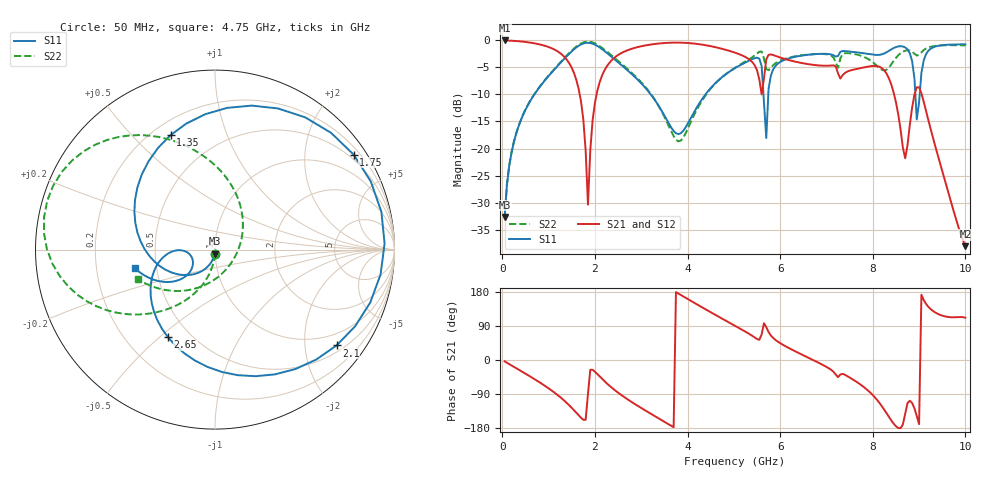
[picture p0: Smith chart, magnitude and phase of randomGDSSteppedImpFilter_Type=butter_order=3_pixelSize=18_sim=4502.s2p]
! freq	dB(S11)	phase(S11)	dB(S12)	phase(S12)
!  dB(S21)	phase(S21)	dB(S22)	phase(S22)
!S-par simulation data
#  GHz  S  DB  R 50
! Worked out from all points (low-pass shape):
!   200 points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, 50 MHz to 10 GHz, reference 50 ohm
!   highest |S21| = -0.01 dB at 50 MHz (marker M1); lowest = -38.1 dB at 10 GHz (marker M2)
!   |S21| within 3 dB of the highest: start of sweep to 1.335 GHz; 2.449 GHz to 5.235 GHz (2.786 GHz wide, 72.5 % of centre) (the widest 2 of 3)
!   lowest |S11| = -32.7 dB at 50 MHz (marker M3), VSWR 1.05, Z = 49.8 - j2.31 ohm
!   |S11| at or under -10 dB: start of sweep to 691.8 MHz; 3.206 GHz to 4.387 GHz (1.181 GHz wide, 31.1 % of centre); 5.64 GHz to 5.744 GHz (104.6 MHz wide, 1.84 % of centre) (the widest 3 of 4)
!   |S22| runs from -32.7 to -0.2 dB; largest |S21 - S12| = 0
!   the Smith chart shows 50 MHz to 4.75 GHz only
!   S11 on the Smith chart (normalised r, x): 50 MHz: 1.00, -0.05; 1.35 GHz: 0.27, +0.65; 1.75 GHz: 0.37, +3.18; 2.1 GHz: 0.66, -2.74; 2.65 GHz: 0.38, -0.53; 4.75 GHz: 0.38, -0.10
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0.05  -32.67 -94.9  -0.01 -3.6  -0.01 -3.6  -32.66 -91.9
0.4  -14.77 -131.1  -0.19 -28.7  -0.19 -28.7  -14.72 -107.3
1.35  -3.30 111.2  -3.14 -108.5  -3.14 -108.5  -3.18 -151.0
1.75  -0.57 34.5  -14.65 -157.7  -14.65 -157.7  -0.38 174.5
1.85  -0.44 12.8  -30.39 -89.7  -30.39 -89.7  -0.23 163.7
2.1  -1.29 -38.3  -7.80 -43.1  -7.80 -43.1  -1.05 138.7
2.65  -5.13 -118.3  -2.01 -99.3  -2.01 -99.3  -4.89 102.1
3.4  -12.44 -177.5  -0.56 -155.8  -0.56 -155.8  -12.47 49.9
3.85  -17.19 -153.4  -0.42 171.9  -0.42 171.9  -18.57 -43.3
4.75  -6.77 -167.0  -1.56 109.0  -1.56 109.0  -6.77 -158.8
5.05  -5.01 171.3  -2.34 88.8  -2.34 88.8  -4.91 -177.4
5.55  -3.38 107.5  -7.21 53.3  -7.21 53.3  -2.09 147.0
5.7  -18.06 -165.8  -3.51 86.9  -3.51 86.9  -5.31 129.5
5.85  -5.37 149.3  -2.71 58.1  -2.71 58.1  -4.57 139.8
6.7  -2.57 80.7  -4.51 0.6  -4.51 0.6  -2.55 99.8
7.9  -2.50 16.0  -4.85 -80.9  -4.85 -80.9  -3.43 5.6
8.35  -1.91 1.6  -7.03 -150.4  -7.03 -150.4  -5.00 -141.4
8.7  -1.30 -30.2  -21.80 -141.5  -21.80 -141.5  -1.91 113.3
8.8  -2.38 -46.0  -15.62 -107.4  -15.62 -107.4  -1.87 95.7
8.95  -14.62 -52.8  -8.66 -147.9  -8.66 -147.9  -2.80 80.4
9.05  -6.03 17.2  -9.78 172.2  -9.78 172.2  -2.22 77.0
10  -0.73 -55.3  -38.06 111.6  -38.06 111.6  -0.93 3.5
